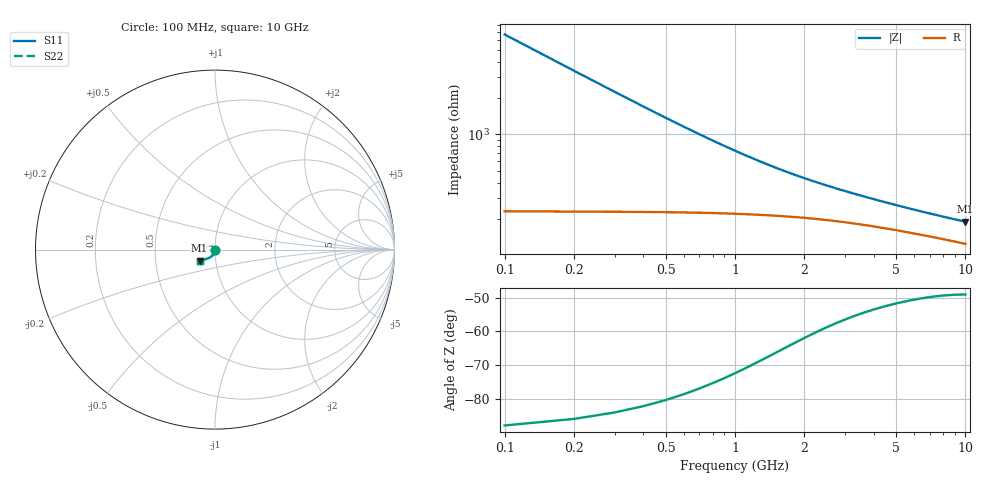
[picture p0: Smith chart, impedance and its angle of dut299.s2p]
! Touchstone file exported from HFSS 2024.1.0
!  File:  C:/UserFiles/LocalFiles/RDL_TSV_Batchsim/temp_TSV1_299_1778771270.aedt
!  Generated:  11:11:38 PM May 14, 2026
!  Design:  TSV1
!  Project:  temp_TSV1_299_1778771270
!  Setup:  Setup1
!  Solution:  Sweep
! Variables:
!  dtsv = 24.51um
!  hbump = 3um
!  htsv = 80.41um
!  lrdl = 252.1521522um
!  p = 40
!  p1 = 59.25um
!  t = 500um
!  trdl = 3um
!  wrdl = 24.89489489um
# GHz S MA R 50.000000
! Terminal data exported
! Port[1] = TSV22_T1
! Port[2] = TSV22_T2
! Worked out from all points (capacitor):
!   100 points, 100 MHz to 10 GHz, reference 50 ohm
!   read as one part in shunt: C = 237 fF near 100 MHz
!   lowest |Z| = 190 ohm at 10 GHz (marker M1)
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0.1  0.003431 -91.1  0.9998 -0.2  0.9998 -0.2  0.003431 -91.1
! Gamma 0 0 0 0
! Port Impedance 50 0 50 0
0.2  0.006839 -93.9  0.9994 -0.5  0.9994 -0.5  0.006839 -93.9
0.3  0.0102 -96.3  0.9987 -0.7  0.9987 -0.7  0.0102 -96.3
0.4  0.01351 -98.5  0.9978 -0.9  0.9978 -0.9  0.01351 -98.5
0.5  0.01673 -100.7  0.9966 -1.1  0.9966 -1.1  0.01673 -100.7
0.6  0.01986 -102.7  0.9953 -1.3  0.9953 -1.3  0.01986 -102.7
0.7  0.02288 -104.7  0.9939 -1.5  0.9939 -1.5  0.02288 -104.7
0.8  0.02579 -106.6  0.9923 -1.7  0.9923 -1.7  0.02579 -106.6
0.9  0.02857 -108.4  0.9907 -1.8  0.9907 -1.8  0.02857 -108.4
1.1  0.03378 -111.8  0.9873 -2.1  0.9873 -2.1  0.03378 -111.8
1.4  0.04067 -116.3  0.982 -2.5  0.982 -2.5  0.04067 -116.3
1.6  0.04472 -118.8  0.9786 -2.7  0.9786 -2.7  0.04472 -118.8
1.8  0.04837 -121.1  0.9754 -2.9  0.9754 -2.9  0.04837 -121.1
2.1  0.05323 -124.0  0.9708 -3.2  0.9708 -3.2  0.05323 -124.0
2.5  0.0588 -127.1  0.9652 -3.5  0.9652 -3.5  0.0588 -127.1
2.9  0.06358 -129.6  0.9603 -3.7  0.9603 -3.7  0.06358 -129.6
3.4  0.06877 -132.1  0.9549 -4.0  0.9549 -4.0  0.06877 -132.1
4.2  0.07579 -135.1  0.9476 -4.4  0.9476 -4.4  0.07579 -135.1
5.1  0.0824 -137.6  0.9408 -4.8  0.9408 -4.8  0.0824 -137.6
6.7  0.09184 -140.7  0.931 -5.4  0.931 -5.4  0.09184 -140.7
8.4  0.09963 -143.0  0.923 -6.1  0.923 -6.1  0.09963 -143.0
10  0.1056 -144.5  0.9171 -6.6  0.9171 -6.6  0.1056 -144.5
